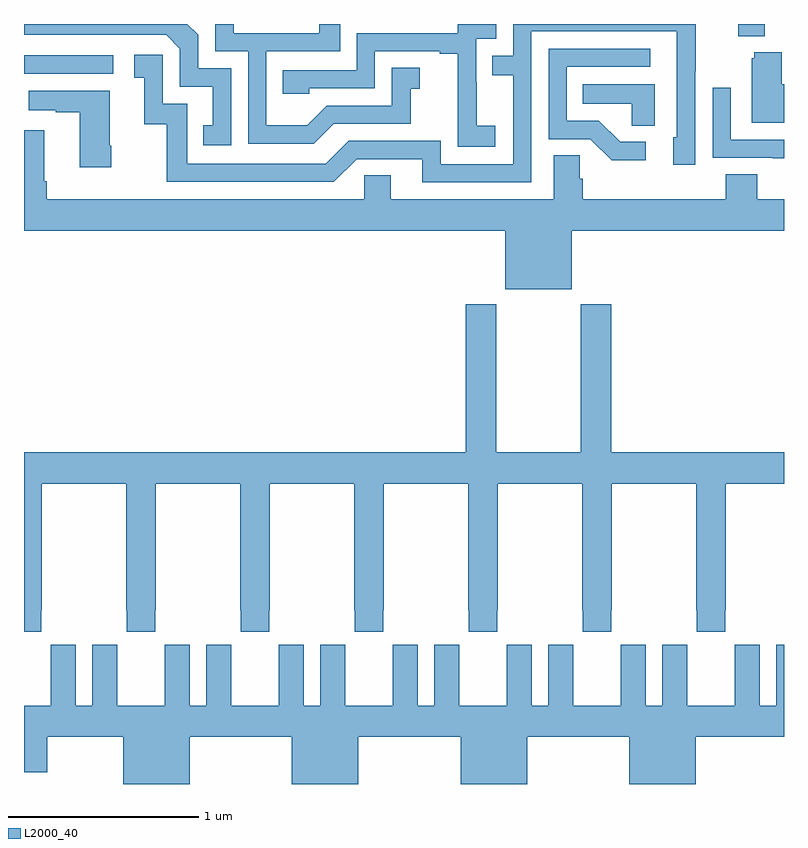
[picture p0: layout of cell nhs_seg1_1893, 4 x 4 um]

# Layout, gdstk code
import gdstk
lib = gdstk.Library(unit=1e-6, precision=1e-09)
def R(c, l, rs):  # rectangles x0, y0, x1, y1
    for r in rs: c.add(gdstk.rectangle(r[:2], r[2:], *l))
def P(c, l, *ps):  # polygons
    for p in ps: c.add(gdstk.Polygon(p, *l))
L2000_40 = (2000, 40)

nhs_seg1_1893 = lib.new_cell('nhs_seg1_1893')
R(nhs_seg1_1893, L2000_40, [(215,505.938,215.47,506.034), (218.759,506.135,218.899,506.199)])
P(nhs_seg1_1893, L2000_40, [(217.48,505.663),(217.382,505.663),(217.382,505.892),(217.38,505.892),(217.38,506.121),(217.485,506.121),(217.485,506.199),(217.284,506.199),(217.284,506.151),(216.75,506.151),(216.75,505.956),(216.361,505.956),(216.361,505.833),(216.501,505.833),(216.501,505.86),(216.846,505.86),(216.846,506.055),(217.187,506.055),(217.187,506.043),(217.283,506.043),(217.283,505.759),(217.282,505.759),(217.282,505.553),(217.48,505.553)],
  [(216.09,505.965),(215.916,505.965),(215.916,506.142),(215.859,506.199),(215,506.199),(215,506.142),(215.748,506.142),(215.82,506.07),(215.82,505.869),(215.993,505.869),(215.993,505.665),(215.944,505.665),(215.944,505.56),(216.09,505.56)],
  [(216.631,505.674),(217.035,505.674),(217.035,505.859),(217.084,505.859),(217.084,505.969),(216.936,505.969),(216.936,505.77),(216.594,505.77),(216.49,505.666),(216.276,505.666),(216.276,506.055),(216.665,506.055),(216.665,506.199),(216.554,506.199),(216.554,506.151),(216.103,506.151),(216.103,506.199),(216.006,506.199),(216.006,506.055),(216.18,506.055),(216.18,505.569),(216.526,505.569)],
  [(217.671,506.16),(218.436,506.16),(218.436,505.602),(218.417,505.602),(218.417,505.458),(218.532,505.458),(218.532,505.951),(218.535,505.951),(218.535,506.199),(217.575,506.199),(217.575,506.031),(217.465,506.031),(217.465,505.93),(217.575,505.93),(217.575,505.461),(217.194,505.461),(217.194,505.584),(216.708,505.584),(216.588,505.464),(215.859,505.464),(215.859,505.779),(215.73,505.779),(215.73,506.038),(215.58,506.038),(215.58,505.917),(215.633,505.917),(215.633,505.671),(215.751,505.671),(215.751,505.368),(216.63,505.368),(216.75,505.488),(217.097,505.488),(217.097,505.365),(217.671,505.365)],
  [(218.272,505.578),(218.137,505.578),(218.026,505.689),(217.857,505.689),(217.857,505.974),(218.296,505.974),(218.296,506.07),(217.761,506.07),(217.761,505.593),(217.98,505.593),(218.093,505.481),(218.272,505.481)],
  [(219,505.882),(218.989,505.882),(218.989,506.05),(218.843,506.05),(218.843,506.019),(218.831,506.019),(218.831,505.679),(219,505.679)],
  [(218.32,505.882),(217.942,505.882),(217.942,505.778),(218.199,505.778),(218.199,505.663),(218.32,505.663)],
  [(219,505.59),(218.721,505.59),(218.721,505.864),(218.625,505.864),(218.625,505.494),(218.941,505.494),(218.941,505.493),(219,505.493)],
  [(215.46,505.558),(215.452,505.558),(215.452,505.849),(215.025,505.849),(215.025,505.745),(215.168,505.745),(215.168,505.735),(215.294,505.735),(215.294,505.446),(215.46,505.446)],
  [(217.882,505.112),(219,505.112),(219,505.276),(218.858,505.276),(218.858,505.409),(218.693,505.409),(218.693,505.276),(217.94,505.276),(217.94,505.385),(217.926,505.385),(217.926,505.508),(217.787,505.508),(217.787,505.276),(216.931,505.276),(216.931,505.403),(216.792,505.403),(216.792,505.276),(215.12,505.276),(215.12,505.372),(215.107,505.372),(215.107,505.639),(215,505.639),(215,505.112),(217.532,505.112),(217.532,504.803),(217.882,504.803)],
  [(215.091,503.113),(215.094,503.113),(215.094,503.78),(215.539,503.78),(215.539,503.113),(215.541,503.113),(215.541,503.001),(215.691,503.001),(215.691,503.113),(215.694,503.113),(215.694,503.78),(216.139,503.78),(216.139,503.113),(216.141,503.113),(216.141,503.001),(216.291,503.001),(216.291,503.113),(216.294,503.113),(216.294,503.78),(216.739,503.78),(216.739,503.113),(216.741,503.113),(216.741,503.001),(216.891,503.001),(216.891,503.113),(216.894,503.113),(216.894,503.78),(217.339,503.78),(217.339,503.113),(217.341,503.113),(217.341,503.001),(217.491,503.001),(217.491,503.113),(217.494,503.113),(217.494,503.78),(217.939,503.78),(217.939,503.113),(217.941,503.113),(217.941,503.001),(218.091,503.001),(218.091,503.113),(218.094,503.113),(218.094,503.78),(218.539,503.78),(218.539,503.113),(218.541,503.113),(218.541,503.001),(218.691,503.001),(218.691,503.113),(218.694,503.113),(218.694,503.78),(219,503.78),(219,503.944),(218.09,503.944),(218.09,504.724),(217.93,504.724),(217.93,503.944),(217.485,503.944),(217.485,504.724),(217.325,504.724),(217.325,503.944),(215,503.944),(215,503.001),(215.091,503.001)],
  [(215.872,502.448),(216.41,502.448),(216.41,502.199),(216.76,502.199),(216.76,502.448),(217.298,502.448),(217.298,502.199),(217.648,502.199),(217.648,502.448),(218.186,502.448),(218.186,502.199),(218.536,502.199),(218.536,502.448),(219,502.448),(219,502.933),(218.96,502.933),(218.96,502.612),(218.872,502.612),(218.872,502.933),(218.742,502.933),(218.742,502.82),(218.741,502.82),(218.741,502.612),(218.491,502.612),(218.491,502.82),(218.49,502.82),(218.49,502.933),(218.36,502.933),(218.36,502.612),(218.272,502.612),(218.272,502.933),(218.142,502.933),(218.142,502.82),(218.141,502.82),(218.141,502.612),(217.891,502.612),(217.891,502.82),(217.89,502.82),(217.89,502.933),(217.76,502.933),(217.76,502.612),(217.672,502.612),(217.672,502.933),(217.542,502.933),(217.542,502.82),(217.541,502.82),(217.541,502.612),(217.291,502.612),(217.291,502.82),(217.29,502.82),(217.29,502.933),(217.16,502.933),(217.16,502.612),(217.072,502.612),(217.072,502.933),(216.942,502.933),(216.942,502.82),(216.941,502.82),(216.941,502.612),(216.691,502.612),(216.691,502.82),(216.69,502.82),(216.69,502.933),(216.56,502.933),(216.56,502.612),(216.472,502.612),(216.472,502.933),(216.342,502.933),(216.342,502.82),(216.341,502.82),(216.341,502.612),(216.091,502.612),(216.091,502.82),(216.09,502.82),(216.09,502.933),(215.96,502.933),(215.96,502.612),(215.872,502.612),(215.872,502.933),(215.742,502.933),(215.742,502.82),(215.741,502.82),(215.741,502.612),(215.491,502.612),(215.491,502.82),(215.49,502.82),(215.49,502.933),(215.36,502.933),(215.36,502.612),(215.272,502.612),(215.272,502.933),(215.142,502.933),(215.142,502.82),(215.141,502.82),(215.141,502.612),(215,502.612),(215,502.26),(215.122,502.26),(215.122,502.448),(215.522,502.448),(215.522,502.199),(215.872,502.199)])

lib.write_gds('nhs_seg1_1893.gds')
